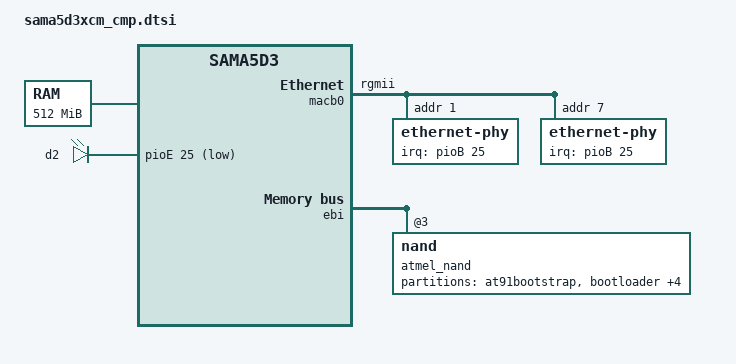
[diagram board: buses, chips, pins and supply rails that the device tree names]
// SPDX-License-Identifier: (GPL-2.0+ OR MIT)
/*
 * sama5d3xcm_cmp.dtsi - Device Tree Include file for SAMA5D36 CMP CPU Module
 *
 *  Copyright (C) 2016 Atmel,
 */

/ {
	compatible = "atmel,sama5d3xcm-cmp", "atmel,sama5d3", "atmel,sama5";

	chosen {
		stdout-path = "serial0:115200n8";
	};

	memory@20000000 {
		reg = <0x20000000 0x20000000>;
	};

	clocks {
		slow_xtal {
			clock-frequency = <32768>;
		};

		main_xtal {
			clock-frequency = <12000000>;
		};
	};

	ahb {
		apb {
			spi0: spi@f0004000 {
				cs-gpios = <&pioD 13 0>, <0>, <0>, <0>;
			};

			tcb0: timer@f0010000 {
				timer@0 {
					compatible = "atmel,tcb-timer";
					reg = <0>;
				};

				timer@1 {
					compatible = "atmel,tcb-timer";
					reg = <1>;
				};
			};

			macb0: ethernet@f0028000 {
				phy-mode = "rgmii";
				#address-cells = <1>;
				#size-cells = <0>;

				ethernet-phy@1 {
					reg = <0x1>;
					interrupt-parent = <&pioB>;
					interrupts = <25 IRQ_TYPE_EDGE_FALLING>;
					txen-skew-ps = <800>;
					txc-skew-ps = <3000>;
					rxdv-skew-ps = <400>;
					rxc-skew-ps = <3000>;
					rxd0-skew-ps = <400>;
					rxd1-skew-ps = <400>;
					rxd2-skew-ps = <400>;
					rxd3-skew-ps = <400>;
				};

				ethernet-phy@7 {
					reg = <0x7>;
					interrupt-parent = <&pioB>;
					interrupts = <25 IRQ_TYPE_EDGE_FALLING>;
					txen-skew-ps = <800>;
					txc-skew-ps = <3000>;
					rxdv-skew-ps = <400>;
					rxc-skew-ps = <3000>;
					rxd0-skew-ps = <400>;
					rxd1-skew-ps = <400>;
					rxd2-skew-ps = <400>;
					rxd3-skew-ps = <400>;
				};
			};

			i2c1: i2c@f0018000 {
				pmic: act8865@5b {
					compatible = "active-semi,act8865";
					reg = <0x5b>;
					status = "disabled";

					regulators {
						vcc_1v8_reg: DCDC_REG1 {
							regulator-name = "VCC_1V8";
							regulator-min-microvolt = <1800000>;
							regulator-max-microvolt = <1800000>;
							regulator-always-on;
						};

						vcc_1v2_reg: DCDC_REG2 {
							regulator-name = "VCC_1V2";
							regulator-min-microvolt = <1100000>;
							regulator-max-microvolt = <1300000>;
							regulator-always-on;
						};

						vcc_3v3_reg: DCDC_REG3 {
							regulator-name = "VCC_3V3";
							regulator-min-microvolt = <3300000>;
							regulator-max-microvolt = <3300000>;
							regulator-always-on;
						};

						vddana_reg: LDO_REG1 {
							regulator-name = "VDDANA";
							regulator-min-microvolt = <3300000>;
							regulator-max-microvolt = <3300000>;
							regulator-always-on;
						};

						vddfuse_reg: LDO_REG2 {
							regulator-name = "FUSE_2V5";
							regulator-min-microvolt = <2500000>;
							regulator-max-microvolt = <2500000>;
						};
					};
				};
			};
		};

		ebi: ebi@10000000 {
			pinctrl-0 = <&pinctrl_ebi_nand_addr>;
			pinctrl-names = "default";
			status = "okay";

			nand_controller: nand-controller {
				status = "okay";

				nand@3 {
					reg = <0x3 0x0 0x2>;
					atmel,rb = <0>;
					nand-bus-width = <8>;
					nand-ecc-mode = "hw";
					nand-ecc-strength = <4>;
					nand-ecc-step-size = <512>;
					nand-on-flash-bbt;
					label = "atmel_nand";

					partitions {
						compatible = "fixed-partitions";
						#address-cells = <1>;
						#size-cells = <1>;

						at91bootstrap@0 {
							label = "at91bootstrap";
							reg = <0x0 0x40000>;
						};

						bootloader@40000 {
							label = "bootloader";
							reg = <0x40000 0x80000>;
						};

						bootloaderenv@c0000 {
							label = "bootloader env";
							reg = <0xc0000 0xc0000>;
						};

						dtb@180000 {
							label = "device tree";
							reg = <0x180000 0x80000>;
						};

						kernel@200000 {
							label = "kernel";
							reg = <0x200000 0x600000>;
						};

						rootfs@800000 {
							label = "rootfs";
							reg = <0x800000 0x0f800000>;
						};
					};
				};
			};
		};
	};

	leds {
		compatible = "gpio-leds";

		led-d2 {
			label = "d2";
			gpios = <&pioE 25 GPIO_ACTIVE_LOW>;
			linux,default-trigger = "heartbeat";
		};
	};
};
